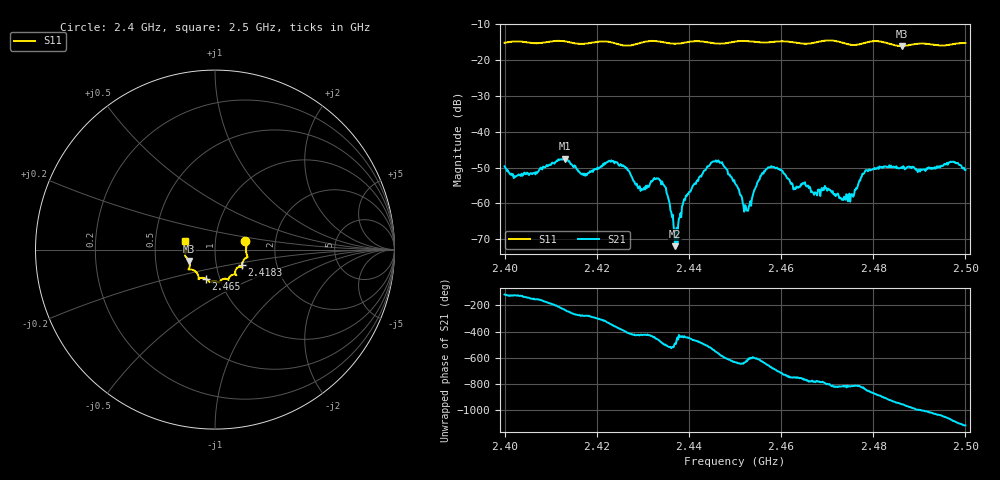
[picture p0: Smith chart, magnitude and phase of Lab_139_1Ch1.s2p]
# Hz S RI R 50
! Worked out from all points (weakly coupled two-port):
!   601 points, 2.4 GHz to 2.5 GHz, reference 50 ohm
!   highest |S21| = -47.54 dB at 2.413 GHz (marker M1); lowest = -72.0 dB at 2.437 GHz (marker M2)
!   lowest |S11| = -16.1 dB at 2.4862 GHz (marker M3), VSWR 1.37, Z = 37.1 - j4.81 ohm
!   |S11| at or under -10 dB: start of sweep to end of sweep
!   S12 and S22 are empty: the file has one direction only
!   S11 on the Smith chart (normalised r, x): 2.4 GHz: 1.40, +0.13; 2.4183 GHz: 1.33, -0.24; 2.465 GHz: 0.86, -0.29; 2.5 GHz: 0.71, +0.07
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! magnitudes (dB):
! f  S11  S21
! 2.4 GHz  -15.1  -49.7
! 2.4025 GHz  -14.7  -52.4
! 2.413 GHz  -14.7  -47.5
! 2.4167 GHz  -15.4  -51.9
! 2.4183 GHz  -15.2  -51.5
! 2.4232 GHz  -15.0  -48.0
! 2.4295 GHz  -15.2  -56.5
! 2.4333 GHz  -14.7  -53.1
! 2.4352 GHz  -15.1  -57.2
! 2.437 GHz  -15.4  -72.0
! 2.4393 GHz  -15.0  -57.9
! 2.445 GHz  -15.2  -48.5
! 2.45 GHz  -14.8  -54.4
! 2.4525 GHz  -14.6  -62.0
! 2.4575 GHz  -15.0  -49.9
! 2.465 GHz  -15.4  -54.5
! 2.4667 GHz  -15.3  -56.7
! 2.475 GHz  -15.7  -59.5
! 2.4782 GHz  -15.1  -51.2
! 2.4833 GHz  -15.3  -49.9
! 2.4862 GHz  -16.1  -49.9
! 2.5 GHz  -15.2  -50.7
